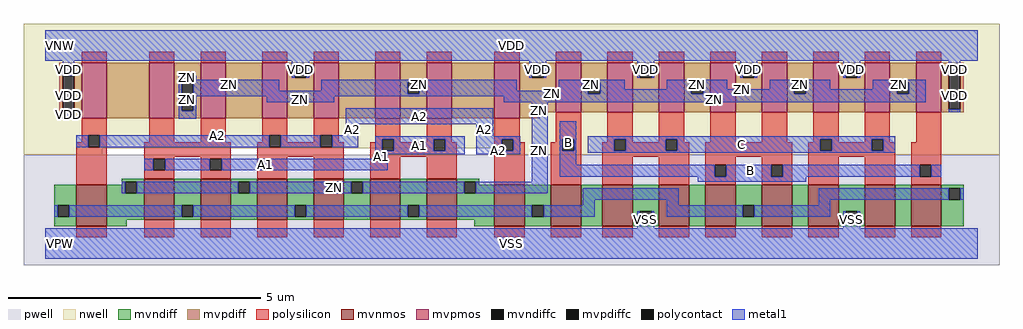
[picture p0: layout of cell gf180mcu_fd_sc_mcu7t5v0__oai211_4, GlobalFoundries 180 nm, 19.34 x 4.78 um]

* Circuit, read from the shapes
.subckt gf180mcu_fd_sc_mcu7t5v0__oai211_4 A1 A2 B C ZN VDD VNW VPW VSS
XM1 ZN A2 n1 VPW nfet_06v0 w=0.82u l=0.6u m=4
XM2 n1 A1 ZN VPW nfet_06v0 w=0.82u l=0.6u m=4
XM3 n2 B n1 VPW nfet_06v0 w=0.82u l=0.6u
XM4 VSS C n2 VPW nfet_06v0 w=0.82u l=0.6u
XM5 n3 C VSS VPW nfet_06v0 w=0.82u l=0.6u
XM6 n1 B n3 VPW nfet_06v0 w=0.82u l=0.6u
XM7 n4 B n1 VPW nfet_06v0 w=0.82u l=0.6u
XM8 VSS C n4 VPW nfet_06v0 w=0.82u l=0.6u
XM9 n5 C VSS VPW nfet_06v0 w=0.82u l=0.6u
XM10 n1 B n5 VPW nfet_06v0 w=0.82u l=0.6u
XM11 n6 A2 VDD VNW pfet_06v0 w=1.095u l=0.5u
XM12 ZN A1 n6 VNW pfet_06v0 w=1.095u l=0.5u
XM13 n7 A1 ZN VNW pfet_06v0 w=1.095u l=0.5u
XM14 VDD A2 n7 VNW pfet_06v0 w=1.095u l=0.5u
XM15 n8 A2 VDD VNW pfet_06v0 w=1.095u l=0.5u
XM16 ZN A1 n8 VNW pfet_06v0 w=1.095u l=0.5u
XM17 n9 A1 ZN VNW pfet_06v0 w=1.095u l=0.5u
XM18 VDD A2 n9 VNW pfet_06v0 w=1.095u l=0.5u
XM19 ZN B VDD VNW pfet_06v0 w=0.985u l=0.5u m=4
XM20 VDD C ZN VNW pfet_06v0 w=0.985u l=0.5u m=4
.ends

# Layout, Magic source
magic
tech gf180mcuD
magscale 1 10
<< nwell >>
rect -86 377 3782 870
rect -86 352 227 377
rect 1799 352 3782 377
<< pwell >>
rect -86 -86 3782 352
<< mvnmos >>
rect 124 68 244 232
rect 392 93 512 257
rect 616 93 736 257
rect 840 93 960 257
rect 1064 93 1184 257
rect 1288 93 1408 257
rect 1512 93 1632 257
rect 1780 68 1900 232
rect 2004 68 2124 232
rect 2208 68 2328 232
rect 2432 68 2552 232
rect 2616 68 2736 232
rect 2840 68 2960 232
rect 3024 68 3144 232
rect 3248 68 3368 232
rect 3432 68 3552 232
<< mvpmos >>
rect 144 497 244 716
rect 412 497 512 716
rect 616 497 716 716
rect 860 497 960 716
rect 1064 497 1164 716
rect 1308 497 1408 716
rect 1512 497 1612 716
rect 1780 497 1880 716
rect 2024 519 2124 716
rect 2228 519 2328 716
rect 2432 519 2532 716
rect 2636 519 2736 716
rect 2840 519 2940 716
rect 3044 519 3144 716
rect 3248 519 3348 716
rect 3452 519 3552 716
<< mvndiff >>
rect 304 244 392 257
rect 304 232 317 244
rect 36 152 124 232
rect 36 106 49 152
rect 95 106 124 152
rect 36 68 124 106
rect 244 198 317 232
rect 363 198 392 244
rect 244 93 392 198
rect 512 152 616 257
rect 512 106 541 152
rect 587 106 616 152
rect 512 93 616 106
rect 736 244 840 257
rect 736 198 765 244
rect 811 198 840 244
rect 736 93 840 198
rect 960 152 1064 257
rect 960 106 989 152
rect 1035 106 1064 152
rect 960 93 1064 106
rect 1184 244 1288 257
rect 1184 198 1213 244
rect 1259 198 1288 244
rect 1184 93 1288 198
rect 1408 152 1512 257
rect 1408 106 1437 152
rect 1483 106 1512 152
rect 1408 93 1512 106
rect 1632 244 1720 257
rect 1632 198 1661 244
rect 1707 232 1720 244
rect 1707 198 1780 232
rect 1632 93 1780 198
rect 244 68 324 93
rect 1700 68 1780 93
rect 1900 152 2004 232
rect 1900 106 1929 152
rect 1975 106 2004 152
rect 1900 68 2004 106
rect 2124 68 2208 232
rect 2328 127 2432 232
rect 2328 81 2357 127
rect 2403 81 2432 127
rect 2328 68 2432 81
rect 2552 68 2616 232
rect 2736 152 2840 232
rect 2736 106 2765 152
rect 2811 106 2840 152
rect 2736 68 2840 106
rect 2960 68 3024 232
rect 3144 127 3248 232
rect 3144 81 3173 127
rect 3219 81 3248 127
rect 3144 68 3248 81
rect 3368 68 3432 232
rect 3552 219 3640 232
rect 3552 173 3581 219
rect 3627 173 3640 219
rect 3552 68 3640 173
<< mvpdiff >>
rect 56 665 144 716
rect 56 525 69 665
rect 115 525 144 665
rect 56 497 144 525
rect 244 497 412 716
rect 512 665 616 716
rect 512 525 541 665
rect 587 525 616 665
rect 512 497 616 525
rect 716 497 860 716
rect 960 703 1064 716
rect 960 657 989 703
rect 1035 657 1064 703
rect 960 497 1064 657
rect 1164 497 1308 716
rect 1408 639 1512 716
rect 1408 593 1437 639
rect 1483 593 1512 639
rect 1408 497 1512 593
rect 1612 497 1780 716
rect 1880 703 2024 716
rect 1880 657 1929 703
rect 1975 657 2024 703
rect 1880 519 2024 657
rect 2124 639 2228 716
rect 2124 593 2153 639
rect 2199 593 2228 639
rect 2124 519 2228 593
rect 2328 703 2432 716
rect 2328 657 2357 703
rect 2403 657 2432 703
rect 2328 519 2432 657
rect 2532 639 2636 716
rect 2532 593 2561 639
rect 2607 593 2636 639
rect 2532 519 2636 593
rect 2736 703 2840 716
rect 2736 657 2765 703
rect 2811 657 2840 703
rect 2736 519 2840 657
rect 2940 639 3044 716
rect 2940 593 2969 639
rect 3015 593 3044 639
rect 2940 519 3044 593
rect 3144 703 3248 716
rect 3144 657 3173 703
rect 3219 657 3248 703
rect 3144 519 3248 657
rect 3348 639 3452 716
rect 3348 593 3377 639
rect 3423 593 3452 639
rect 3348 519 3452 593
rect 3552 672 3640 716
rect 3552 532 3581 672
rect 3627 532 3640 672
rect 3552 519 3640 532
rect 1880 497 1960 519
<< mvndiffc >>
rect 49 106 95 152
rect 317 198 363 244
rect 541 106 587 152
rect 765 198 811 244
rect 989 106 1035 152
rect 1213 198 1259 244
rect 1437 106 1483 152
rect 1661 198 1707 244
rect 1929 106 1975 152
rect 2357 81 2403 127
rect 2765 106 2811 152
rect 3173 81 3219 127
rect 3581 173 3627 219
<< mvpdiffc >>
rect 69 525 115 665
rect 541 525 587 665
rect 989 657 1035 703
rect 1437 593 1483 639
rect 1929 657 1975 703
rect 2153 593 2199 639
rect 2357 657 2403 703
rect 2561 593 2607 639
rect 2765 657 2811 703
rect 2969 593 3015 639
rect 3173 657 3219 703
rect 3377 593 3423 639
rect 3581 532 3627 672
<< polysilicon >>
rect 144 716 244 760
rect 412 716 512 760
rect 616 716 716 760
rect 860 716 960 760
rect 1064 716 1164 760
rect 1308 716 1408 760
rect 1512 716 1612 760
rect 1780 716 1880 760
rect 2024 716 2124 760
rect 2228 716 2328 760
rect 2432 716 2532 760
rect 2636 716 2736 760
rect 2840 716 2940 760
rect 3044 716 3144 760
rect 3248 716 3348 760
rect 3452 716 3552 760
rect 144 428 244 497
rect 144 401 171 428
rect 124 382 171 401
rect 217 382 244 428
rect 412 401 512 497
rect 616 401 716 497
rect 860 428 960 497
rect 860 401 887 428
rect 124 232 244 382
rect 392 344 736 401
rect 392 336 512 344
rect 392 290 429 336
rect 475 290 512 336
rect 392 257 512 290
rect 616 336 736 344
rect 616 290 653 336
rect 699 290 736 336
rect 616 257 736 290
rect 840 382 887 401
rect 933 401 960 428
rect 1064 428 1164 497
rect 1064 401 1091 428
rect 933 382 1091 401
rect 1137 401 1164 428
rect 1308 413 1408 497
rect 1308 401 1335 413
rect 1137 382 1184 401
rect 840 344 1184 382
rect 840 257 960 344
rect 1064 257 1184 344
rect 1288 367 1335 401
rect 1381 401 1408 413
rect 1512 413 1612 497
rect 1512 401 1539 413
rect 1381 367 1539 401
rect 1585 401 1612 413
rect 1780 413 1880 497
rect 1585 367 1632 401
rect 1288 344 1632 367
rect 1288 257 1408 344
rect 1512 257 1632 344
rect 1780 367 1809 413
rect 1855 401 1880 413
rect 2024 413 2124 519
rect 2024 401 2050 413
rect 1855 367 1900 401
rect 1780 232 1900 367
rect 2004 367 2050 401
rect 2096 367 2124 413
rect 2228 413 2328 519
rect 2228 401 2255 413
rect 2004 232 2124 367
rect 2208 367 2255 401
rect 2301 401 2328 413
rect 2432 413 2532 519
rect 2432 401 2459 413
rect 2301 367 2459 401
rect 2505 401 2532 413
rect 2636 401 2736 519
rect 2840 401 2940 519
rect 3044 413 3144 519
rect 3044 401 3071 413
rect 2505 367 2552 401
rect 2208 344 2552 367
rect 2208 232 2328 344
rect 2432 232 2552 344
rect 2616 344 2960 401
rect 2616 311 2736 344
rect 2616 265 2653 311
rect 2699 265 2736 311
rect 2616 232 2736 265
rect 2840 311 2960 344
rect 2840 265 2877 311
rect 2923 265 2960 311
rect 2840 232 2960 265
rect 3024 367 3071 401
rect 3117 401 3144 413
rect 3248 413 3348 519
rect 3248 401 3275 413
rect 3117 367 3275 401
rect 3321 401 3348 413
rect 3452 401 3552 519
rect 3321 367 3368 401
rect 3024 344 3368 367
rect 3024 232 3144 344
rect 3248 232 3368 344
rect 3432 311 3552 401
rect 3432 265 3465 311
rect 3511 265 3552 311
rect 3432 232 3552 265
rect 124 24 244 68
rect 392 24 512 93
rect 616 24 736 93
rect 840 24 960 93
rect 1064 24 1184 93
rect 1288 24 1408 93
rect 1512 24 1632 93
rect 1780 24 1900 68
rect 2004 24 2124 68
rect 2208 24 2328 68
rect 2432 24 2552 68
rect 2616 24 2736 68
rect 2840 24 2960 68
rect 3024 24 3144 68
rect 3248 24 3368 68
rect 3432 24 3552 68
<< polycontact >>
rect 171 382 217 428
rect 429 290 475 336
rect 653 290 699 336
rect 887 382 933 428
rect 1091 382 1137 428
rect 1335 367 1381 413
rect 1539 367 1585 413
rect 1809 367 1855 413
rect 2050 367 2096 413
rect 2255 367 2301 413
rect 2459 367 2505 413
rect 2653 265 2699 311
rect 2877 265 2923 311
rect 3071 367 3117 413
rect 3275 367 3321 413
rect 3465 265 3511 311
<< metal1 >>
rect 0 724 3696 844
rect 69 665 115 724
rect 978 703 1046 724
rect 69 506 115 525
rect 530 525 541 665
rect 587 648 598 665
rect 978 657 989 703
rect 1035 657 1046 703
rect 1918 703 1986 724
rect 1918 657 1929 703
rect 1975 657 1986 703
rect 2346 703 2414 724
rect 2346 657 2357 703
rect 2403 657 2414 703
rect 2754 703 2822 724
rect 2754 657 2765 703
rect 2811 657 2822 703
rect 3162 703 3230 724
rect 3162 657 3173 703
rect 3219 657 3230 703
rect 3581 672 3627 724
rect 587 605 928 648
rect 1095 639 1868 648
rect 1095 605 1437 639
rect 587 593 1437 605
rect 1483 605 1868 639
rect 2035 639 2296 648
rect 2035 605 2153 639
rect 1483 593 2153 605
rect 2199 611 2296 639
rect 2464 639 2704 648
rect 2464 611 2561 639
rect 2199 593 2561 611
rect 2607 611 2704 639
rect 2872 639 3112 648
rect 2872 611 2969 639
rect 2607 593 2969 611
rect 3015 611 3112 639
rect 3280 639 3490 648
rect 3280 611 3377 639
rect 3015 593 3377 611
rect 3423 593 3490 639
rect 587 584 3490 593
rect 587 525 598 584
rect 878 559 1145 584
rect 1818 559 3490 584
rect 530 495 598 525
rect 1191 472 1776 536
rect 1191 428 1241 472
rect 124 382 171 428
rect 217 382 887 428
rect 933 382 1091 428
rect 1137 382 1241 428
rect 1708 424 1776 472
rect 1308 413 1662 424
rect 1308 367 1335 413
rect 1381 367 1539 413
rect 1585 367 1662 413
rect 1308 354 1662 367
rect 1708 413 1882 424
rect 1708 367 1809 413
rect 1855 367 1882 413
rect 1708 354 1882 367
rect 1308 336 1358 354
rect 392 290 429 336
rect 475 290 653 336
rect 699 290 1358 336
rect 1928 244 1992 559
rect 3581 519 3627 532
rect 2040 413 2104 485
rect 2040 367 2050 413
rect 2096 367 2104 413
rect 2040 311 2104 367
rect 2150 413 3368 424
rect 2150 367 2255 413
rect 2301 367 2459 413
rect 2505 367 3071 413
rect 3117 367 3275 413
rect 3321 367 3368 413
rect 2150 360 3368 367
rect 2040 265 2653 311
rect 2699 265 2877 311
rect 2923 265 3465 311
rect 3511 265 3552 311
rect 2586 244 3016 265
rect 304 198 317 244
rect 363 198 765 244
rect 811 198 1213 244
rect 1259 198 1661 244
rect 1707 198 1992 244
rect 2131 173 2510 219
rect 2131 152 2177 173
rect 36 106 49 152
rect 95 106 541 152
rect 587 106 989 152
rect 1035 106 1437 152
rect 1483 106 1929 152
rect 1975 106 2177 152
rect 2464 152 2510 173
rect 3066 173 3581 219
rect 3627 173 3640 219
rect 3066 152 3112 173
rect 2346 81 2357 127
rect 2403 81 2414 127
rect 2464 106 2765 152
rect 2811 106 3112 152
rect 2346 60 2414 81
rect 3162 81 3173 127
rect 3219 81 3230 127
rect 3162 60 3230 81
rect 0 -60 3696 60
<< labels >>
flabel metal1 s 2040 311 2104 485 0 FreeSans 400 0 0 0 B
port 3 nsew default input
flabel metal1 s 2150 360 3368 424 0 FreeSans 400 0 0 0 C
port 4 nsew default input
flabel metal1 s 0 724 3696 844 0 FreeSans 400 0 0 0 VDD
port 6 nsew power bidirectional abutment
flabel metal1 s 3162 60 3230 127 0 FreeSans 400 0 0 0 VSS
port 9 nsew ground bidirectional abutment
flabel metal1 s 530 648 598 665 0 FreeSans 400 0 0 0 ZN
port 5 nsew default output
flabel metal1 s 1308 354 1662 424 0 FreeSans 400 0 0 0 A1
port 1 nsew default input
flabel metal1 s 1191 472 1776 536 0 FreeSans 400 0 0 0 A2
port 2 nsew default input
flabel nwell s 10 734 110 834 0 FreeSans 400 0 0 0 VNW
port 7 nsew power bidirectional
flabel pwell s 10 -50 110 50 0 FreeSans 400 0 0 0 VPW
port 8 nsew ground bidirectional
rlabel metal1 s 1308 336 1358 354 1 A1
port 1 nsew default input
rlabel metal1 s 392 290 1358 336 1 A1
port 1 nsew default input
rlabel metal1 s 1708 428 1776 472 1 A2
port 2 nsew default input
rlabel metal1 s 1191 428 1241 472 1 A2
port 2 nsew default input
rlabel metal1 s 1708 424 1776 428 1 A2
port 2 nsew default input
rlabel metal1 s 124 424 1241 428 1 A2
port 2 nsew default input
rlabel metal1 s 1708 382 1882 424 1 A2
port 2 nsew default input
rlabel metal1 s 124 382 1241 424 1 A2
port 2 nsew default input
rlabel metal1 s 1708 354 1882 382 1 A2
port 2 nsew default input
rlabel metal1 s 2040 265 3552 311 1 B
port 3 nsew default input
rlabel metal1 s 2586 244 3016 265 1 B
port 3 nsew default input
rlabel metal1 s 3280 611 3490 648 1 ZN
port 5 nsew default output
rlabel metal1 s 2872 611 3112 648 1 ZN
port 5 nsew default output
rlabel metal1 s 2464 611 2704 648 1 ZN
port 5 nsew default output
rlabel metal1 s 2035 611 2296 648 1 ZN
port 5 nsew default output
rlabel metal1 s 1095 611 1868 648 1 ZN
port 5 nsew default output
rlabel metal1 s 530 611 928 648 1 ZN
port 5 nsew default output
rlabel metal1 s 2035 605 3490 611 1 ZN
port 5 nsew default output
rlabel metal1 s 1095 605 1868 611 1 ZN
port 5 nsew default output
rlabel metal1 s 530 605 928 611 1 ZN
port 5 nsew default output
rlabel metal1 s 530 584 3490 605 1 ZN
port 5 nsew default output
rlabel metal1 s 1818 559 3490 584 1 ZN
port 5 nsew default output
rlabel metal1 s 878 559 1145 584 1 ZN
port 5 nsew default output
rlabel metal1 s 530 559 598 584 1 ZN
port 5 nsew default output
rlabel metal1 s 1928 495 1992 559 1 ZN
port 5 nsew default output
rlabel metal1 s 530 495 598 559 1 ZN
port 5 nsew default output
rlabel metal1 s 1928 244 1992 495 1 ZN
port 5 nsew default output
rlabel metal1 s 304 198 1992 244 1 ZN
port 5 nsew default output
rlabel metal1 s 3581 657 3627 724 1 VDD
port 6 nsew power bidirectional abutment
rlabel metal1 s 3162 657 3230 724 1 VDD
port 6 nsew power bidirectional abutment
rlabel metal1 s 2754 657 2822 724 1 VDD
port 6 nsew power bidirectional abutment
rlabel metal1 s 2346 657 2414 724 1 VDD
port 6 nsew power bidirectional abutment
rlabel metal1 s 1918 657 1986 724 1 VDD
port 6 nsew power bidirectional abutment
rlabel metal1 s 978 657 1046 724 1 VDD
port 6 nsew power bidirectional abutment
rlabel metal1 s 69 657 115 724 1 VDD
port 6 nsew power bidirectional abutment
rlabel metal1 s 3581 519 3627 657 1 VDD
port 6 nsew power bidirectional abutment
rlabel metal1 s 69 519 115 657 1 VDD
port 6 nsew power bidirectional abutment
rlabel metal1 s 69 506 115 519 1 VDD
port 6 nsew power bidirectional abutment
rlabel metal1 s 2346 60 2414 127 1 VSS
port 9 nsew ground bidirectional abutment
rlabel metal1 s 0 -60 3696 60 1 VSS
port 9 nsew ground bidirectional abutment
<< properties >>
string FIXED_BBOX 0 0 3696 784
string GDS_END 104678
string GDS_FILE $PDKPATH/libs.ref/gf180mcu_fd_sc_mcu7t5v0/gds/gf180mcu_fd_sc_mcu7t5v0.gds
string GDS_START 97608
string LEFclass core
string LEFsite GF018hv5v_mcu_sc7
string LEFsymmetry X Y
<< end >>
